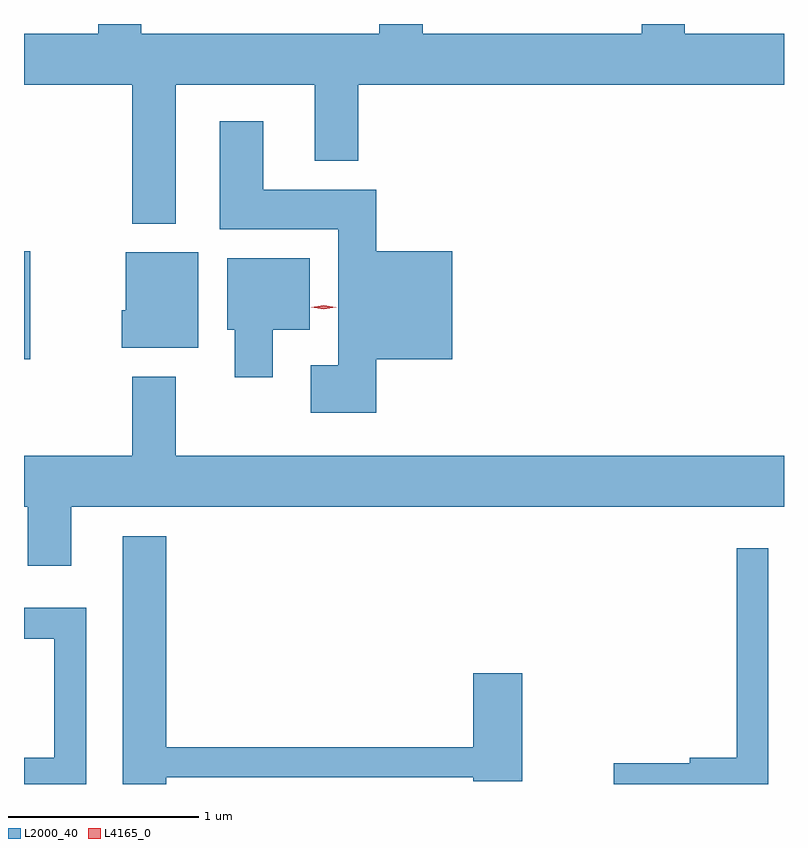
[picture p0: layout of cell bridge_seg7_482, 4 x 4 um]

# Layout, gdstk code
import gdstk
lib = gdstk.Library(unit=1e-6, precision=1e-09)
def R(c, l, rs):  # rectangles x0, y0, x1, y1
    for r in rs: c.add(gdstk.rectangle(r[:2], r[2:], *l))
def P(c, l, *ps):  # polygons
    for p in ps: c.add(gdstk.Polygon(p, *l))
L2000_40 = (2000, 40)
L4165_0 = (4165, 0)

bridge_seg7_482 = lib.new_cell('bridge_seg7_482')
R(bridge_seg7_482, L2000_40, [(1256.671,1681.791,1256.704,1682.359)])
P(bridge_seg7_482, L2000_40, [(1257.469,1683.236),(1258.201,1683.236),(1258.201,1682.836),(1258.429,1682.836),(1258.429,1683.236),(1260.671,1683.236),(1260.671,1683.504),(1260.149,1683.504),(1260.149,1683.556),(1259.921,1683.556),(1259.921,1683.504),(1258.769,1683.504),(1258.769,1683.556),(1258.541,1683.556),(1258.541,1683.504),(1257.289,1683.504),(1257.289,1683.556),(1257.061,1683.556),(1257.061,1683.504),(1256.671,1683.504),(1256.671,1683.236),(1257.241,1683.236),(1257.241,1682.506),(1257.469,1682.506)],
  [(1258.524,1681.791),(1258.924,1681.791),(1258.924,1682.359),(1258.524,1682.359),(1258.524,1682.684),(1257.929,1682.684),(1257.929,1683.044),(1257.701,1683.044),(1257.701,1682.476),(1258.326,1682.476),(1258.326,1681.759),(1258.181,1681.759),(1258.181,1681.511),(1258.524,1681.511)],
  [(1257.589,1682.354),(1257.206,1682.354),(1257.206,1682.049),(1257.186,1682.049),(1257.186,1681.851),(1257.589,1681.851)],
  [(1257.979,1681.946),(1258.174,1681.946),(1258.174,1682.324),(1257.741,1682.324),(1257.741,1681.946),(1257.781,1681.946),(1257.781,1681.696),(1257.979,1681.696)],
  [(1256.919,1681.016),(1260.671,1681.016),(1260.671,1681.284),(1257.469,1681.284),(1257.469,1681.699),(1257.241,1681.699),(1257.241,1681.284),(1256.671,1681.284),(1256.671,1681.016),(1256.691,1681.016),(1256.691,1680.706),(1256.919,1680.706)],
  [(1257.419,1679.591),(1259.036,1679.591),(1259.036,1679.571),(1259.294,1679.571),(1259.294,1680.139),(1259.036,1680.139),(1259.036,1679.749),(1257.419,1679.749),(1257.419,1680.859),(1257.191,1680.859),(1257.191,1679.556),(1257.419,1679.556)],
  [(1260.589,1680.798),(1260.421,1680.798),(1260.421,1679.694),(1260.176,1679.694),(1260.176,1679.664),(1259.776,1679.664),(1259.776,1679.556),(1260.589,1679.556)],
  [(1256.999,1680.484),(1256.671,1680.484),(1256.671,1680.321),(1256.831,1680.321),(1256.831,1679.694),(1256.671,1679.694),(1256.671,1679.556),(1256.999,1679.556)])
P(bridge_seg7_482, L4165_0, [(1258.248,1682.056),(1258.182,1682.065),(1258.181,1682.066),(1258.182,1682.066),(1258.248,1682.076),(1258.313,1682.066),(1258.314,1682.066),(1258.313,1682.065)])

lib.write_gds('bridge_seg7_482.gds')
